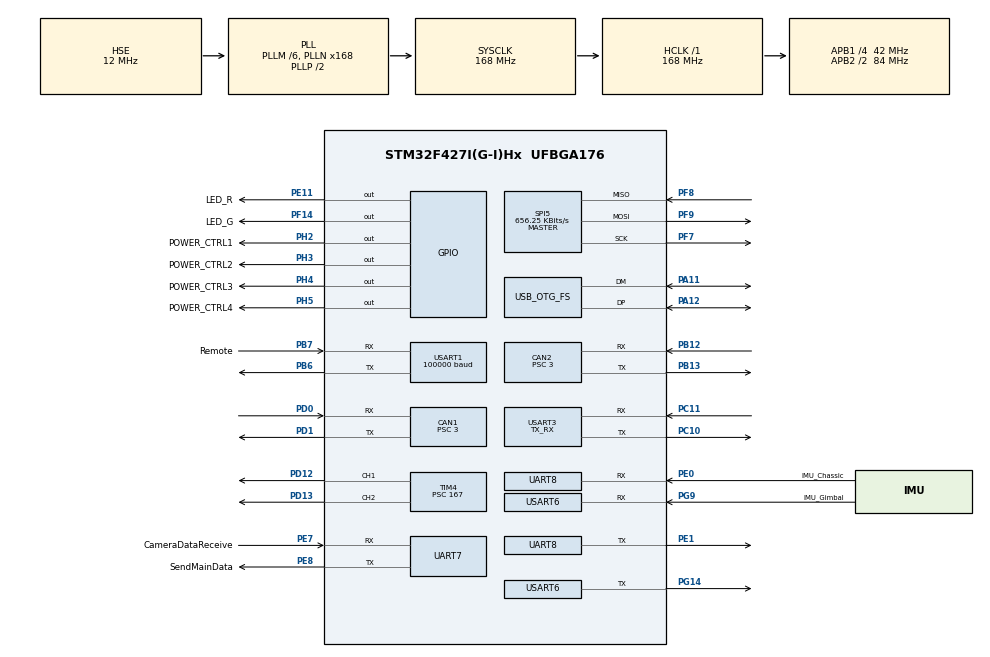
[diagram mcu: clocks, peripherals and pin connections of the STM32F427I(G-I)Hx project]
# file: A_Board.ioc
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CAN1.BS1=CAN_BS1_9TQ
CAN1.BS2=CAN_BS2_4TQ
CAN1.CalculateBaudRate=1000000
CAN1.CalculateTimeBit=1000
CAN1.CalculateTimeQuantum=71.42857142857143
CAN1.Prescaler=3
CAN1.TXFP=DISABLE
CAN2.BS1=CAN_BS1_9TQ
CAN2.BS2=CAN_BS2_4TQ
CAN2.CalculateBaudRate=1000000
CAN2.CalculateTimeBit=1000
CAN2.CalculateTimeQuantum=71.42857142857143
CAN2.Prescaler=3
CAN2.TXFP=DISABLE
Dma.Request0=USART1_RX
Dma.Request1=USART6_RX
Dma.Request2=UART7_RX
Dma.Request3=UART8_RX
Dma.Request4=UART7_TX
Dma.Request5=SPI5_RX
Dma.Request6=SPI5_TX
Dma.Request7=USART3_TX
Dma.SPI5_RX.5.Direction=DMA_PERIPH_TO_MEMORY
Dma.SPI5_RX.5.FIFOMode=DMA_FIFOMODE_DISABLE
Dma.SPI5_RX.5.Instance=DMA2_Stream3
Dma.SPI5_RX.5.MemDataAlignment=DMA_MDATAALIGN_BYTE
Dma.SPI5_RX.5.MemInc=DMA_MINC_ENABLE
Dma.SPI5_RX.5.Mode=DMA_NORMAL
Dma.SPI5_RX.5.PeriphDataAlignment=DMA_PDATAALIGN_BYTE
Dma.SPI5_RX.5.PeriphInc=DMA_PINC_DISABLE
Dma.SPI5_RX.5.Priority=DMA_PRIORITY_LOW
Dma.SPI5_TX.6.Direction=DMA_MEMORY_TO_PERIPH
Dma.SPI5_TX.6.FIFOMode=DMA_FIFOMODE_DISABLE
Dma.SPI5_TX.6.Instance=DMA2_Stream4
Dma.SPI5_TX.6.MemDataAlignment=DMA_MDATAALIGN_BYTE
Dma.SPI5_TX.6.MemInc=DMA_MINC_ENABLE
Dma.SPI5_TX.6.Mode=DMA_NORMAL
Dma.SPI5_TX.6.PeriphDataAlignment=DMA_PDATAALIGN_BYTE
Dma.SPI5_TX.6.PeriphInc=DMA_PINC_DISABLE
Dma.SPI5_TX.6.Priority=DMA_PRIORITY_LOW
Dma.UART7_RX.2.Direction=DMA_PERIPH_TO_MEMORY
Dma.UART7_RX.2.FIFOMode=DMA_FIFOMODE_DISABLE
Dma.UART7_RX.2.Instance=DMA1_Stream3
Dma.UART7_RX.2.MemDataAlignment=DMA_MDATAALIGN_BYTE
Dma.UART7_RX.2.MemInc=DMA_MINC_ENABLE
Dma.UART7_RX.2.Mode=DMA_NORMAL
Dma.UART7_RX.2.PeriphDataAlignment=DMA_PDATAALIGN_BYTE
Dma.UART7_RX.2.PeriphInc=DMA_PINC_DISABLE
Dma.UART7_RX.2.Priority=DMA_PRIORITY_MEDIUM
Dma.UART7_TX.4.Direction=DMA_MEMORY_TO_PERIPH
Dma.UART7_TX.4.FIFOMode=DMA_FIFOMODE_DISABLE
Dma.UART7_TX.4.Instance=DMA1_Stream1
Dma.UART7_TX.4.MemDataAlignment=DMA_MDATAALIGN_BYTE
Dma.UART7_TX.4.MemInc=DMA_MINC_ENABLE
Dma.UART7_TX.4.Mode=DMA_NORMAL
Dma.UART7_TX.4.PeriphDataAlignment=DMA_PDATAALIGN_BYTE
Dma.UART7_TX.4.PeriphInc=DMA_PINC_DISABLE
Dma.UART7_TX.4.Priority=DMA_PRIORITY_MEDIUM
Dma.UART8_RX.3.Direction=DMA_PERIPH_TO_MEMORY
Dma.UART8_RX.3.FIFOMode=DMA_FIFOMODE_DISABLE
Dma.UART8_RX.3.Instance=DMA1_Stream6
Dma.UART8_RX.3.MemDataAlignment=DMA_MDATAALIGN_BYTE
Dma.UART8_RX.3.MemInc=DMA_MINC_ENABLE
Dma.UART8_RX.3.Mode=DMA_NORMAL
Dma.UART8_RX.3.PeriphDataAlignment=DMA_PDATAALIGN_BYTE
Dma.UART8_RX.3.PeriphInc=DMA_PINC_DISABLE
Dma.UART8_RX.3.Priority=DMA_PRIORITY_MEDIUM
Dma.USART1_RX.0.Direction=DMA_PERIPH_TO_MEMORY
Dma.USART1_RX.0.FIFOMode=DMA_FIFOMODE_DISABLE
Dma.USART1_RX.0.Instance=DMA2_Stream2
Dma.USART1_RX.0.MemDataAlignment=DMA_MDATAALIGN_BYTE
Dma.USART1_RX.0.MemInc=DMA_MINC_ENABLE
Dma.USART1_RX.0.Mode=DMA_NORMAL
Dma.USART1_RX.0.PeriphDataAlignment=DMA_PDATAALIGN_BYTE
Dma.USART1_RX.0.PeriphInc=DMA_PINC_DISABLE
Dma.USART1_RX.0.Priority=DMA_PRIORITY_HIGH
Dma.USART3_TX.7.Direction=DMA_MEMORY_TO_PERIPH
Dma.USART3_TX.7.FIFOMode=DMA_FIFOMODE_DISABLE
Dma.USART3_TX.7.Instance=DMA1_Stream4
Dma.USART3_TX.7.MemDataAlignment=DMA_MDATAALIGN_BYTE
Dma.USART3_TX.7.MemInc=DMA_MINC_ENABLE
Dma.USART3_TX.7.Mode=DMA_NORMAL
Dma.USART3_TX.7.PeriphDataAlignment=DMA_PDATAALIGN_BYTE
Dma.USART3_TX.7.PeriphInc=DMA_PINC_DISABLE
Dma.USART3_TX.7.Priority=DMA_PRIORITY_MEDIUM
Dma.USART6_RX.1.Direction=DMA_PERIPH_TO_MEMORY
Dma.USART6_RX.1.FIFOMode=DMA_FIFOMODE_DISABLE
Dma.USART6_RX.1.Instance=DMA2_Stream1
Dma.USART6_RX.1.MemDataAlignment=DMA_MDATAALIGN_BYTE
Dma.USART6_RX.1.MemInc=DMA_MINC_ENABLE
Dma.USART6_RX.1.Mode=DMA_NORMAL
Dma.USART6_RX.1.PeriphDataAlignment=DMA_PDATAALIGN_BYTE
Dma.USART6_RX.1.PeriphInc=DMA_PINC_DISABLE
Dma.USART6_RX.1.Priority=DMA_PRIORITY_MEDIUM
FREERTOS.INCLUDE_vTaskDelayUntil=1
FREERTOS.Tasks01=defaultTask,0,128,StartDefaultTask,Default,NULL,Dynamic,NULL,NULL;remoteTask,1,128,StartRemoteTask,Default,NULL,Dynamic,NULL,NULL;imuTask,1,128,StartIMUTask,Default,NULL,Dynamic,NULL,NULL;refereeTask,3,256,StartRefereeTask,Default,NULL,Dynamic,NULL,NULL;visionRecTask,1,256,StartVisionRecTask,Default,NULL,Dynamic,NULL,NULL;visionSendTask,1,256,StartVisionSendTask,Default,NULL,Dynamic,NULL,NULL;gimbalTask,1,128,StartGimbalTask,Default,NULL,Dynamic,NULL,NULL;modeTask,1,128,StartModeTask,Default,NULL,Dynamic,NULL,NULL
FREERTOS.configENABLE_FPU=1
FREERTOS.configMAX_PRIORITIES=9
Mcu.Family=STM32F4
Mcu.Name=STM32F427I(G-I)Hx
Mcu.Package=UFBGA176
NVIC.CAN1_RX0_IRQn=true\:5\:0\:true\:false\:true\:true\:true\:true\:true
NVIC.CAN1_RX1_IRQn=true\:5\:0\:false\:false\:true\:true\:true\:true\:true
NVIC.CAN2_RX0_IRQn=true\:5\:0\:true\:false\:true\:true\:true\:true\:true
NVIC.CAN2_RX1_IRQn=true\:5\:0\:false\:false\:true\:true\:true\:true\:true
NVIC.DMA1_Stream1_IRQn=true\:5\:0\:false\:false\:true\:true\:false\:true\:true
NVIC.DMA1_Stream3_IRQn=true\:5\:0\:false\:false\:true\:true\:false\:true\:true
NVIC.DMA1_Stream4_IRQn=true\:5\:0\:false\:false\:true\:true\:false\:true\:true
NVIC.DMA1_Stream6_IRQn=true\:5\:0\:false\:false\:true\:true\:false\:true\:true
NVIC.DMA2_Stream1_IRQn=true\:5\:0\:false\:false\:true\:true\:false\:true\:true
NVIC.DMA2_Stream2_IRQn=true\:5\:0\:false\:false\:true\:true\:false\:true\:true
NVIC.DMA2_Stream3_IRQn=true\:5\:0\:false\:false\:true\:true\:false\:true\:true
NVIC.DMA2_Stream4_IRQn=true\:5\:0\:false\:false\:true\:true\:false\:true\:true
NVIC.OTG_FS_IRQn=true\:5\:0\:false\:false\:true\:true\:false\:true\:true
NVIC.PriorityGroup=NVIC_PRIORITYGROUP_4
NVIC.TIM7_IRQn=true\:15\:0\:false\:false\:true\:false\:false\:true\:true
NVIC.TimeBase=TIM7_IRQn
NVIC.TimeBaseIP=TIM7
NVIC.UART7_IRQn=true\:5\:0\:true\:false\:true\:true\:true\:true\:true
NVIC.UART8_IRQn=true\:5\:0\:true\:false\:true\:true\:true\:true\:true
NVIC.USART1_IRQn=true\:5\:0\:false\:false\:true\:true\:true\:true\:true
NVIC.USART6_IRQn=true\:5\:0\:true\:false\:true\:true\:true\:true\:true
PA11.Mode=Device_Only
PA11.Signal=USB_OTG_FS_DM
PA12.Mode=Device_Only
PA12.Signal=USB_OTG_FS_DP
PA13.Mode=Serial_Wire
PA13.Signal=SYS_JTMS-SWDIO
PA14.Mode=Serial_Wire
PA14.Signal=SYS_JTCK-SWCLK
PB12.Mode=CAN_Activate
PB12.Signal=CAN2_RX
PB13.Mode=CAN_Activate
PB13.Signal=CAN2_TX
PB6.Mode=Asynchronous
PB6.Signal=USART1_TX
PB7.GPIO_Label=Remote
PB7.GPIO_PuPd=GPIO_NOPULL
PB7.GPIO_Speed=GPIO_SPEED_FREQ_MEDIUM
PB7.Mode=Asynchronous
PB7.Signal=USART1_RX
PC10.Mode=Asynchronous
PC10.Signal=USART3_TX
PC11.Mode=Asynchronous
PC11.Signal=USART3_RX
PD0.Mode=CAN_Activate
PD0.Signal=CAN1_RX
PD1.Mode=CAN_Activate
PD1.Signal=CAN1_TX
PD12.Signal=S_TIM4_CH1
PD13.Signal=S_TIM4_CH2
PE0.GPIO_Label=IMU_Chassic
PE0.Mode=Asynchronous
PE0.Signal=UART8_RX
PE1.Mode=Asynchronous
PE1.Signal=UART8_TX
PE11.GPIO_Label=LED_R
PE11.GPIO_PuPd=GPIO_PULLUP
PE11.Signal=GPIO_Output
PE7.GPIO_Label=CameraDataReceive
PE7.Mode=Asynchronous
PE7.Signal=UART7_RX
PE8.GPIO_Label=SendMainData
PE8.Mode=Asynchronous
PE8.Signal=UART7_TX
PF14.GPIO_Label=LED_G
PF14.GPIO_PuPd=GPIO_PULLUP
PF14.Signal=GPIO_Output
PF7.Mode=Full_Duplex_Master
PF7.Signal=SPI5_SCK
PF8.Mode=Full_Duplex_Master
PF8.Signal=SPI5_MISO
PF9.Mode=Full_Duplex_Master
PF9.Signal=SPI5_MOSI
PG14.Mode=Asynchronous
PG14.Signal=USART6_TX
PG9.GPIO_Label=IMU_Gimbal
PG9.GPIO_PuPd=GPIO_PULLUP
PG9.Mode=Asynchronous
PG9.Signal=USART6_RX
PH0/OSC_IN.Mode=HSE-External-Oscillator
PH0/OSC_IN.Signal=RCC_OSC_IN
PH1/OSC_OUT.Mode=HSE-External-Oscillator
PH1/OSC_OUT.Signal=RCC_OSC_OUT
PH2.GPIO_Label=POWER_CTRL1
PH2.GPIO_PuPd=GPIO_PULLUP
PH2.PinState=GPIO_PIN_SET
PH2.Signal=GPIO_Output
PH3.GPIO_Label=POWER_CTRL2
PH3.GPIO_PuPd=GPIO_PULLUP
PH3.PinState=GPIO_PIN_SET
PH3.Signal=GPIO_Output
PH4.GPIO_Label=POWER_CTRL3
PH4.GPIO_PuPd=GPIO_PULLUP
PH4.PinState=GPIO_PIN_SET
PH4.Signal=GPIO_Output
PH5.GPIO_Label=POWER_CTRL4
PH5.GPIO_PuPd=GPIO_PULLUP
PH5.PinState=GPIO_PIN_SET
PH5.Signal=GPIO_Output
ProjectManager.HeapSize=0x4000
ProjectManager.StackSize=0x4000
ProjectManager.TargetToolchain=Makefile
RCC.48MHZClocksFreq_Value=48000000
RCC.AHBFreq_Value=168000000
RCC.APB1CLKDivider=RCC_HCLK_DIV4
RCC.APB1Freq_Value=42000000
RCC.APB1TimFreq_Value=84000000
RCC.APB2CLKDivider=RCC_HCLK_DIV2
RCC.APB2Freq_Value=84000000
RCC.APB2TimFreq_Value=168000000
RCC.CortexFreq_Value=168000000
RCC.HCLKFreq_Value=168000000
RCC.HSE_VALUE=12000000
RCC.HSI_VALUE=16000000
RCC.LSE_VALUE=32768
RCC.PLLM=6
RCC.PLLN=168
RCC.PLLQ=7
RCC.SYSCLKFreq_VALUE=168000000
RCC.SYSCLKSource=RCC_SYSCLKSOURCE_PLLCLK
RCC.VCOOutputFreq_Value=336000000
SH.S_TIM4_CH1.0=TIM4_CH1,PWM Generation1 CH1
SH.S_TIM4_CH2.0=TIM4_CH2,PWM Generation2 CH2
SPI5.BaudRatePrescaler=SPI_BAUDRATEPRESCALER_128
SPI5.CLKPhase=SPI_PHASE_2EDGE
SPI5.CLKPolarity=SPI_POLARITY_HIGH
SPI5.CalculateBaudRate=656.25 KBits/s
SPI5.Direction=SPI_DIRECTION_2LINES
SPI5.Mode=SPI_MODE_MASTER
SPI5.VirtualType=VM_MASTER
STMicroelectronics.X-CUBE-ALGOBUILD.1.3.0.LibraryCcDSPOoLibraryJjDSPOoLibrary=true
TIM4.Channel-PWM\ Generation1\ CH1=TIM_CHANNEL_1
TIM4.Channel-PWM\ Generation2\ CH2=TIM_CHANNEL_2
TIM4.Period=19999
TIM4.Prescaler=167
UART7.VirtualMode=Asynchronous
UART7.WordLength=WORDLENGTH_8B
UART8.Mode=MODE_RX
UART8.VirtualMode=Asynchronous
UART8.WordLength=WORDLENGTH_8B
USART1.BaudRate=100000
USART1.Mode=MODE_TX_RX
USART1.Parity=PARITY_EVEN
USART1.VirtualMode=VM_ASYNC
USART1.WordLength=WORDLENGTH_9B
USART3.Mode=MODE_TX_RX
USART3.VirtualMode=VM_ASYNC
USART6.Mode=MODE_RX
USART6.VirtualMode=VM_ASYNC
USART6.WordLength=WORDLENGTH_8B
USB_DEVICE.CLASS_NAME_FS=CDC
USB_DEVICE.VirtualMode-CDC_FS=Cdc
USB_DEVICE.VirtualModeFS=Cdc_FS
USB_OTG_FS.VirtualMode=Device_Only
VP_FREERTOS_VS_CMSIS_V1.Mode=CMSIS_V1
VP_STMicroelectronics.X-CUBE-ALGOBUILD_VS_DSPOoLibraryJjLibrary_1.3.0_1.3.0.Mode=DSPOoLibraryJjLibrary
VP_SYS_VS_tim7.Mode=TIM7
VP_USB_DEVICE_VS_USB_DEVICE_CDC_FS.Mode=CDC_FS
board=custom

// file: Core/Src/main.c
/* USER CODE BEGIN Header */
/**
 ******************************************************************************
 * @file           : main.c
 * @brief          : Main program body
 ******************************************************************************
 * @attention
 *
 * Copyright (c) 2023 STMicroelectronics.
 * All rights reserved.
 *
 * This software is licensed under terms that can be found in the LICENSE file
 * in the root directory of this software component.
 * If no LICENSE file comes with this software, it is provided AS-IS.
 *
 ******************************************************************************
 */
/* USER CODE END Header */
#include "main.h"

#include "can.h"
#include "cmsis_os.h"
#include "dma.h"
#include "gpio.h"
#include "spi.h"
#include "tim.h"
#include "usart.h"
#include "usb_device.h"

/* USER CODE BEGIN Includes */
#include "Communication.h"
/* USER CODE END Includes */

void SystemClock_Config(void);
void MX_FREERTOS_Init(void);

int main(void)
{

    /* MCU Configuration--------------------------------------------------------*/

    /* Reset of all peripherals, Initializes the Flash interface and the Systick. */
    HAL_Init();

    /* Configure the system clock */
    SystemClock_Config();

    /* Initialize all configured peripherals */
    MX_GPIO_Init();
    MX_DMA_Init();
    MX_CAN1_Init();
    MX_CAN2_Init();
    MX_USART1_UART_Init();
    MX_USART6_UART_Init();
    MX_UART7_Init();
    MX_UART8_Init();
    MX_SPI5_Init();
    MX_USART3_UART_Init();
    MX_TIM4_Init();
    /* USER CODE BEGIN 2 */
    UserSystemCommInit();
    HAL_TIM_PWM_Start(&htim4, TIM_CHANNEL_1);
    HAL_TIM_PWM_Start(&htim4, TIM_CHANNEL_2);
    __HAL_TIM_SET_COMPARE(&htim4, TIM_CHANNEL_1, 420);
    __HAL_TIM_SET_COMPARE(&htim4, TIM_CHANNEL_2, 500);
    /* USER CODE END 2 */

    /* Call init function for freertos objects (in freertos.c) */
    MX_FREERTOS_Init();

    /* Start scheduler */
    osKernelStart();

    /* We should never get here as control is now taken by the scheduler */
    /* Infinite loop */
    while (1) {

    }
}

void SystemClock_Config(void)
{
    RCC_OscInitTypeDef RCC_OscInitStruct = {0};
    RCC_ClkInitTypeDef RCC_ClkInitStruct = {0};

    /** Configure the main internal regulator output voltage
     */
    __HAL_RCC_PWR_CLK_ENABLE();
    __HAL_PWR_VOLTAGESCALING_CONFIG(PWR_REGULATOR_VOLTAGE_SCALE1);

    /** Initializes the RCC Oscillators according to the specified parameters
     * in the RCC_OscInitTypeDef structure.
     */
    RCC_OscInitStruct.OscillatorType = RCC_OSCILLATORTYPE_HSE;
    RCC_OscInitStruct.HSEState = RCC_HSE_ON;
    RCC_OscInitStruct.PLL.PLLState = RCC_PLL_ON;
    RCC_OscInitStruct.PLL.PLLSource = RCC_PLLSOURCE_HSE;
    RCC_OscInitStruct.PLL.PLLM = 6;
    RCC_OscInitStruct.PLL.PLLN = 168;
    RCC_OscInitStruct.PLL.PLLP = RCC_PLLP_DIV2;
    RCC_OscInitStruct.PLL.PLLQ = 7;
    if (HAL_RCC_OscConfig(&RCC_OscInitStruct) != HAL_OK) {
        Error_Handler();
    }

    /** Initializes the CPU, AHB and APB buses clocks
     */
    RCC_ClkInitStruct.ClockType = RCC_CLOCKTYPE_HCLK | RCC_CLOCKTYPE_SYSCLK | RCC_CLOCKTYPE_PCLK1 | RCC_CLOCKTYPE_PCLK2;
    RCC_ClkInitStruct.SYSCLKSource = RCC_SYSCLKSOURCE_PLLCLK;
    RCC_ClkInitStruct.AHBCLKDivider = RCC_SYSCLK_DIV1;
    RCC_ClkInitStruct.APB1CLKDivider = RCC_HCLK_DIV4;
    RCC_ClkInitStruct.APB2CLKDivider = RCC_HCLK_DIV2;

    if (HAL_RCC_ClockConfig(&RCC_ClkInitStruct, FLASH_LATENCY_5) != HAL_OK) {
        Error_Handler();
    }
}

void HAL_TIM_PeriodElapsedCallback(TIM_HandleTypeDef *htim)
{
    if (htim->Instance == TIM7) {
        HAL_IncTick();
    }
}

void Error_Handler(void)
{
    __disable_irq();
    while (1) {
    }
}

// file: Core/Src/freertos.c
/* USER CODE BEGIN Header */
/**
 ******************************************************************************
 * File Name          : freertos.c
 * Description        : Code for freertos applications
 ******************************************************************************
 * @attention
 *
 * Copyright (c) 2023 STMicroelectronics.
 * All rights reserved.
 *
 * This software is licensed under terms that can be found in the LICENSE file
 * in the root directory of this software component.
 * If no LICENSE file comes with this software, it is provided AS-IS.
 *
 ******************************************************************************
 */
/* USER CODE END Header */

#include "FreeRTOS.h"
#include "task.h"
#include "main.h"
#include "cmsis_os.h"

/* USER CODE BEGIN Includes */
#include "Communication.h"
#include "Hero_Gimbal.h"
#include "Remote_Keyboard.h"
#include "SolveTrajectory.h"
/* USER CODE END Includes */

osThreadId defaultTaskHandle;
osThreadId remoteTaskHandle;
osThreadId imuTaskHandle;
osThreadId refereeTaskHandle;
osThreadId visionRecTaskHandle;
osThreadId visionSendTaskHandle;
osThreadId gimbalTaskHandle;
osThreadId modeTaskHandle;

void StartDefaultTask(void const * argument);
void StartRemoteTask(void const * argument);
void StartIMUTask(void const * argument);
void StartRefereeTask(void const * argument);
void StartVisionRecTask(void const * argument);
void StartVisionSendTask(void const * argument);
void StartGimbalTask(void const * argument);
void StartModeTask(void const * argument);

extern void MX_USB_DEVICE_Init(void);
void MX_FREERTOS_Init(void); /* (MISRA C 2004 rule 8.1) */

/* GetIdleTaskMemory prototype (linked to static allocation support) */
void vApplicationGetIdleTaskMemory( StaticTask_t **ppxIdleTaskTCBBuffer, StackType_t **ppxIdleTaskStackBuffer, uint32_t *pulIdleTaskStackSize );

/* USER CODE BEGIN GET_IDLE_TASK_MEMORY */
static StaticTask_t xIdleTaskTCBBuffer;
static StackType_t xIdleStack[configMINIMAL_STACK_SIZE];

void vApplicationGetIdleTaskMemory(StaticTask_t **ppxIdleTaskTCBBuffer, StackType_t **ppxIdleTaskStackBuffer, uint32_t *pulIdleTaskStackSize)
{
    *ppxIdleTaskTCBBuffer = &xIdleTaskTCBBuffer;
    *ppxIdleTaskStackBuffer = &xIdleStack[0];
    *pulIdleTaskStackSize = configMINIMAL_STACK_SIZE;
    /* place for user code */
}
/* USER CODE END GET_IDLE_TASK_MEMORY */

void MX_FREERTOS_Init(void) {

  /* Create the thread(s) */
  /* definition and creation of defaultTask */
  osThreadDef(defaultTask, StartDefaultTask, osPriorityNormal, 0, 128);
  defaultTaskHandle = osThreadCreate(osThread(defaultTask), NULL);

  /* definition and creation of remoteTask */
  osThreadDef(remoteTask, StartRemoteTask, osPriorityAboveNormal, 0, 128);
  remoteTaskHandle = osThreadCreate(osThread(remoteTask), NULL);

  /* definition and creation of imuTask */
  osThreadDef(imuTask, StartIMUTask, osPriorityAboveNormal, 0, 128);
  imuTaskHandle = osThreadCreate(osThread(imuTask), NULL);

  /* definition and creation of refereeTask */
  osThreadDef(refereeTask, StartRefereeTask, osPriorityRealtime, 0, 256);
  refereeTaskHandle = osThreadCreate(osThread(refereeTask), NULL);

  /* definition and creation of visionRecTask */
  osThreadDef(visionRecTask, StartVisionRecTask, osPriorityAboveNormal, 0, 256);
  visionRecTaskHandle = osThreadCreate(osThread(visionRecTask), NULL);

  /* definition and creation of visionSendTask */
  osThreadDef(visionSendTask, StartVisionSendTask, osPriorityAboveNormal, 0, 256);
  visionSendTaskHandle = osThreadCreate(osThread(visionSendTask), NULL);

  /* definition and creation of gimbalTask */
  osThreadDef(gimbalTask, StartGimbalTask, osPriorityAboveNormal, 0, 128);
  gimbalTaskHandle = osThreadCreate(osThread(gimbalTask), NULL);

  /* definition and creation of modeTask */
  osThreadDef(modeTask, StartModeTask, osPriorityAboveNormal, 0, 128);
  modeTaskHandle = osThreadCreate(osThread(modeTask), NULL);

}

void StartDefaultTask(void const * argument)
{
  /* init code for USB_DEVICE */
  MX_USB_DEVICE_Init();
  /* USER CODE BEGIN StartDefaultTask */
    /* Infinite loop */
    for (;;) {
        HAL_GPIO_TogglePin(LED_R_GPIO_Port, LED_R_Pin);
        HAL_GPIO_TogglePin(LED_G_GPIO_Port, LED_G_Pin);
        osDelay(500);
        HAL_GPIO_TogglePin(LED_R_GPIO_Port, LED_R_Pin);
        HAL_GPIO_TogglePin(LED_G_GPIO_Port, LED_G_Pin);
        osDelay(500);
    }
  /* USER CODE END StartDefaultTask */
}

void StartRemoteTask(void const * argument)
{
  /* USER CODE BEGIN StartRemoteTask */
    /* Infinite loop */
    for (;;) {
        RemoteTask();
    }
  /* USER CODE END StartRemoteTask */
}

void StartIMUTask(void const * argument)
{
  /* USER CODE BEGIN StartIMUTask */
    /* Infinite loop */
    for (;;) {
        IMUTask();
    }
  /* USER CODE END StartIMUTask */
}

void StartRefereeTask(void const * argument)
{
  /* USER CODE BEGIN StartRefereeTask */
    /* Infinite loop */
    for (;;) {
        RefereeTask();
    }
  /* USER CODE END StartRefereeTask */
}

void StartVisionRecTask(void const * argument)
{
  /* USER CODE BEGIN StartVisionRecTask */
    /* Infinite loop */
    for (;;) {
        VisionRecTask();
        osDelay(5);
    }
  /* USER CODE END StartVisionRecTask */
}

void StartVisionSendTask(void const * argument)
{
  /* USER CODE BEGIN StartVisionSendTask */
    TrajectoryParams_Init();
    /* Infinite loop */
    for (;;) {
        VisionSendTask();
        osDelay(5);
    }
  /* USER CODE END StartVisionSendTask */
}

void StartGimbalTask(void const * argument)
{
  /* USER CODE BEGIN StartGimbalTask */
    GimbalInit();
    /* Infinite loop */
    for (;;) {
        HeroGimbalTask();
        osDelay(5);
    }
  /* USER CODE END StartGimbalTask */
}

void StartModeTask(void const * argument)
{
  /* USER CODE BEGIN StartModeTask */
    /* Infinite loop */
    for (;;) {
        ModeTask();
        osDelay(1);
    }
  /* USER CODE END StartModeTask */
}
